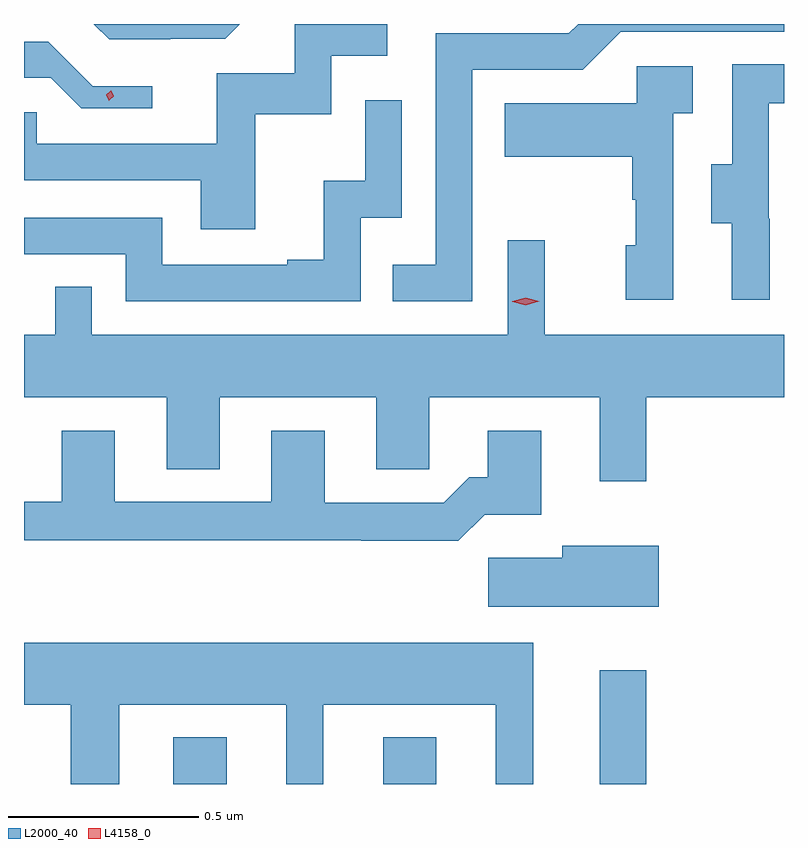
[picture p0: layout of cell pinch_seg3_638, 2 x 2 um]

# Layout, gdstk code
import gdstk
lib = gdstk.Library(unit=1e-6, precision=1e-09)
def R(c, l, rs):  # rectangles x0, y0, x1, y1
    for r in rs: c.add(gdstk.rectangle(r[:2], r[2:], *l))
def P(c, l, *ps):  # polygons
    for p in ps: c.add(gdstk.Polygon(p, *l))
L2000_40 = (2000, 40)
L4158_0 = (4158, 0)

pinch_seg3_638 = lib.new_cell('pinch_seg3_638')
R(pinch_seg3_638, L2000_40, [(1048.673,671.926,1048.813,672.049), (1049.225,671.926,1049.365,672.049), (1049.795,671.926,1049.917,672.226)])
P(pinch_seg3_638, L2000_40, [(1048.889,673.689),(1049.088,673.689),(1049.088,673.842),(1049.236,673.842),(1049.236,673.926),(1048.992,673.926),(1048.992,673.797),(1048.787,673.797),(1048.787,673.611),(1048.314,673.611),(1048.314,673.694),(1048.28,673.694),(1048.28,673.515),(1048.745,673.515),(1048.745,673.386),(1048.889,673.386)],
  [(1049.46,673.806),(1049.751,673.806),(1049.85,673.905),(1050.28,673.905),(1050.28,673.926),(1049.738,673.926),(1049.714,673.902),(1049.364,673.902),(1049.364,673.293),(1049.251,673.293),(1049.251,673.197),(1049.46,673.197)],
  [(1048.665,673.887),(1048.809,673.887),(1048.848,673.926),(1048.464,673.926),(1048.504,673.886),(1048.665,673.886)],
  [(1048.618,673.762),(1048.461,673.762),(1048.344,673.879),(1048.28,673.879),(1048.28,673.785),(1048.35,673.785),(1048.431,673.704),(1048.618,673.704)],
  [(1050.242,673.413),(1050.24,673.413),(1050.24,673.717),(1050.28,673.717),(1050.28,673.82),(1050.144,673.82),(1050.144,673.557),(1050.089,673.557),(1050.089,673.402),(1050.143,673.402),(1050.143,673.2),(1050.242,673.2)],
  [(1049.988,673.691),(1050.04,673.691),(1050.04,673.815),(1049.892,673.815),(1049.892,673.717),(1049.545,673.717),(1049.545,673.577),(1049.88,673.577),(1049.88,673.463),(1049.89,673.463),(1049.89,673.344),(1049.864,673.344),(1049.864,673.2),(1049.988,673.2)],
  [(1049.166,673.416),(1049.274,673.416),(1049.274,673.726),(1049.178,673.726),(1049.178,673.514),(1049.069,673.514),(1049.069,673.306),(1048.973,673.306),(1048.973,673.293),(1048.644,673.293),(1048.644,673.416),(1048.28,673.416),(1048.28,673.32),(1048.548,673.32),(1048.548,673.197),(1049.166,673.197)],
  [(1049.917,672.944),(1050.28,672.944),(1050.28,673.108),(1049.651,673.108),(1049.651,673.357),(1049.553,673.357),(1049.553,673.108),(1048.458,673.108),(1048.458,673.235),(1048.362,673.235),(1048.362,673.108),(1048.28,673.108),(1048.28,672.944),(1048.655,672.944),(1048.655,672.754),(1048.795,672.754),(1048.795,672.944),(1049.207,672.944),(1049.207,672.754),(1049.346,672.754),(1049.346,672.944),(1049.795,672.944),(1049.795,672.723),(1049.917,672.723)],
  [(1049.492,672.635),(1049.641,672.635),(1049.641,672.856),(1049.501,672.856),(1049.501,672.733),(1049.452,672.733),(1049.385,672.666),(1049.071,672.666),(1049.071,672.856),(1048.931,672.856),(1048.931,672.669),(1048.519,672.669),(1048.519,672.856),(1048.379,672.856),(1048.379,672.669),(1048.28,672.669),(1048.28,672.568),(1049.167,672.568),(1049.167,672.566),(1049.423,672.566)],
  [(1049.95,672.553),(1049.696,672.553),(1049.696,672.521),(1049.502,672.521),(1049.502,672.392),(1049.95,672.392)],
  [(1048.531,672.134),(1048.97,672.134),(1048.97,671.926),(1049.068,671.926),(1049.068,672.134),(1049.522,672.134),(1049.522,671.926),(1049.62,671.926),(1049.62,672.298),(1048.28,672.298),(1048.28,672.134),(1048.403,672.134),(1048.403,671.926),(1048.531,671.926)])
P(pinch_seg3_638, L4158_0, [(1049.6,673.186),(1049.565,673.195),(1049.565,673.195),(1049.565,673.196),(1049.6,673.206),(1049.636,673.196),(1049.636,673.196),(1049.636,673.196)],
  [(1048.503,673.724),(1048.503,673.725),(1048.496,673.74),(1048.508,673.751),(1048.508,673.751),(1048.509,673.751),(1048.516,673.736),(1048.504,673.725)])

lib.write_gds('pinch_seg3_638.gds')
